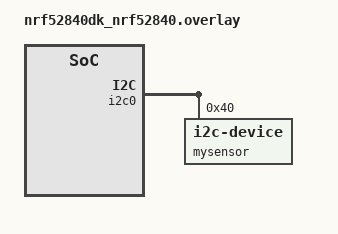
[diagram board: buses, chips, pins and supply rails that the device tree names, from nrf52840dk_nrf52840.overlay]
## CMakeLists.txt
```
#
# Copyright (c) 2018 Nordic Semiconductor
#
# SPDX-License-Identifier: LicenseRef-Nordic-5-Clause
#
cmake_minimum_required(VERSION 3.20.0)

find_package(Zephyr REQUIRED HINTS $ENV{ZEPHYR_BASE})
project(NONE)

# NORDIC SDK APP START
target_sources(app PRIVATE
  src/main.c
  src/ble_char.c
  src/si7006.c

)

# NORDIC SDK APP END
zephyr_library_include_directories(.)
```

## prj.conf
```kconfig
#
# Copyright (c) 2018 Nordic Semiconductor
#
# SPDX-License-Identifier: LicenseRef-Nordic-5-Clause
#
CONFIG_NCS_SAMPLES_DEFAULTS=y

CONFIG_BT=y
CONFIG_BT_PERIPHERAL=y
CONFIG_BT_DEVICE_NAME="Nordic_LBS"

# Enable the LBS service
#CONFIG_BT_LBS=y
CONFIG_BT_LBS_POLL_BUTTON=y
CONFIG_DK_LIBRARY=y

CONFIG_SYSTEM_WORKQUEUE_STACK_SIZE=2048
CONFIG_GPIO=y
# STEP 2 - Enable the I2C driver
CONFIG_I2C=y
# STEP 4.2 - Enable floating point format specifiers
CONFIG_CBPRINTF_FP_SUPPORT=y
```

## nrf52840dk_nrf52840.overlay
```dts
// To get started, press Ctrl+Space to bring up the completion menu and view the available nodes.

// You can also use the buttons in the sidebar to perform actions on nodes.
// Actions currently available include:

// * Enabling / disabling the node
// * Adding the bus to a bus
// * Removing the node
// * Connecting ADC channels

// For more help, browse the DeviceTree documentation at https://docs.zephyrproject.org/latest/guides/dts/index.html
// You can also visit the nRF DeviceTree extension documentation at https://nrfconnect.github.io/vscode-nrf-connect/devicetree/nrfdevicetree.html
&i2c0 {
    
    mysensor: mysensor@4a{
        compatible = "i2c-device";
        status = "okay";
        reg = < 0x40 >;
    };
};
```

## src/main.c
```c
#include <zephyr/types.h>
#include <stddef.h>
#include <string.h>
#include <errno.h>
#include <zephyr/sys/printk.h>
#include <zephyr/sys/byteorder.h>
#include <zephyr/kernel.h>
#include <zephyr/drivers/gpio.h>
#include <soc.h>

#include <zephyr/bluetooth/bluetooth.h>
#include <zephyr/bluetooth/hci.h>
#include <zephyr/bluetooth/conn.h>
#include <zephyr/bluetooth/uuid.h>
#include <zephyr/bluetooth/gatt.h>

#include <bluetooth/services/lbs.h>

#include <zephyr/settings/settings.h>


#include "ble_char.h"

#define DEVICE_NAME CONFIG_BT_DEVICE_NAME
#define DEVICE_NAME_LEN (sizeof(DEVICE_NAME) - 1)




int cTemp;
int ble_temp ;
int humidity;
int ble_hum ;
int timer_val=10;

static bool app_button_state;

static const struct bt_data ad[] = {
	BT_DATA_BYTES(BT_DATA_FLAGS, (BT_LE_AD_GENERAL | BT_LE_AD_NO_BREDR)),
	BT_DATA(BT_DATA_NAME_COMPLETE, DEVICE_NAME, DEVICE_NAME_LEN),
};

static const struct bt_data sd[] = {
	BT_DATA_BYTES(BT_DATA_UUID128_ALL, BT_UUID_LBS_VAL),
};

static void connected(struct bt_conn *conn, uint8_t err)
{
	if (err)
	{
		printk("Connection failed (err %u)\n", err);
		return;
	}

	printk("Connected\n");

}

static void disconnected(struct bt_conn *conn, uint8_t reason)
{
	printk("Disconnected (reason %u)\n", reason);

}

#ifdef CONFIG_BT_LBS_SECURITY_ENABLED
static void security_changed(struct bt_conn *conn, bt_security_t level,
							 enum bt_security_err err)
{
	char addr[BT_ADDR_LE_STR_LEN];

	bt_addr_le_to_str(bt_conn_get_dst(conn), addr, sizeof(addr));

	if (!err)
	{
		printk("Security changed: %s level %u\n", addr, level);
	}
	else
	{
		printk("Security failed: %s level %u err %d\n", addr, level,
			   err);
	}
}
#endif

BT_CONN_CB_DEFINE(conn_callbacks) = {
	.connected = connected,
	.disconnected = disconnected,
#ifdef CONFIG_BT_LBS_SECURITY_ENABLED
	.security_changed = security_changed,
#endif
};

#if defined(CONFIG_BT_LBS_SECURITY_ENABLED)
static void auth_passkey_display(struct bt_conn *conn, unsigned int passkey)
{
	char addr[BT_ADDR_LE_STR_LEN];

	bt_addr_le_to_str(bt_conn_get_dst(conn), addr, sizeof(addr));

	printk("Passkey for %s: %06u\n", addr, passkey);
}

static void auth_cancel(struct bt_conn *conn)
{
	char addr[BT_ADDR_LE_STR_LEN];

	bt_addr_le_to_str(bt_conn_get_dst(conn), addr, sizeof(addr));

	printk("Pairing cancelled: %s\n", addr);
}

static void pairing_complete(struct bt_conn *conn, bool bonded)
{
	char addr[BT_ADDR_LE_STR_LEN];

	bt_addr_le_to_str(bt_conn_get_dst(conn), addr, sizeof(addr));

	printk("Pairing completed: %s, bonded: %d\n", addr, bonded);
}

static void pairing_failed(struct bt_conn *conn, enum bt_security_err reason)
{
	char addr[BT_ADDR_LE_STR_LEN];

	bt_addr_le_to_str(bt_conn_get_dst(conn), addr, sizeof(addr));

	printk("Pairing failed conn: %s, reason %d\n", addr, reason);
}

static struct bt_conn_auth_cb conn_auth_callbacks = {
	.passkey_display = auth_passkey_display,
	.cancel = auth_cancel,
};

static struct bt_conn_auth_info_cb conn_auth_info_callbacks = {
	.pairing_complete = pairing_complete,
	.pairing_failed = pairing_failed};
#else
static struct bt_conn_auth_cb conn_auth_callbacks;
static struct bt_conn_auth_info_cb conn_auth_info_callbacks;
#endif


void tcp_work_handler(struct k_work *work)
{
	/* do the processing that needs to be done periodically */
	si7006();
	ble_temp = cTemp * 100;
	ble_hum = humidity * 100;
	hum_notify();
	temp_notify();
}

K_WORK_DEFINE(tcp_work, tcp_work_handler);
void tcp_timer_handler(struct k_timer *dummy)
{
	k_work_submit(&tcp_work);
}

struct k_timer tcp_timer;

void main(void)
{
	int err;

	printk("Starting Bluetooth Peripheral LBS example\n");


	if (IS_ENABLED(CONFIG_BT_LBS_SECURITY_ENABLED))
	{
		err = bt_conn_auth_cb_register(&conn_auth_callbacks);
		if (err)
		{
			printk("Failed to register authorization callbacks.\n");
			return;
		}

		err = bt_conn_auth_info_cb_register(&conn_auth_info_callbacks);
		if (err)
		{
			printk("Failed to register authorization info callbacks.\n");
			return;
		}
	}

	err = bt_enable(NULL);
	if (err)
	{
		printk("Bluetooth init failed (err %d)\n", err);
		return;
	}

	printk("Bluetooth initialized\n");

	if (IS_ENABLED(CONFIG_SETTINGS))
	{
		settings_load();
	}


	err = bt_le_adv_start(BT_LE_ADV_CONN, ad, ARRAY_SIZE(ad),
						  sd, ARRAY_SIZE(sd));
	if (err)
	{
		printk("Advertising failed to start (err %d)\n", err);
		return;
	}

	printk("Advertising successfully started\n");

	// timer
	k_timer_init(&tcp_timer, tcp_timer_handler, NULL);
	k_timer_start(&tcp_timer, K_SECONDS(0), K_SECONDS(timer_val));
}
```

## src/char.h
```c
/*
 * Copyright (c) 2018 Nordic Semiconductor ASA
 *
 * SPDX-License-Identifier: LicenseRef-Nordic-5-Clause
 */

#ifndef BT_LBS_H_
#define BT_LBS_H_

/**@file
 * @defgroup bt_lbs LED Button Service API
 * @{
 * @brief API for the LED Button Service (LBS).
 */

#ifdef __cplusplus
extern "C" {
#endif

#include <zephyr/types.h>


#define BT_UUID_LED           BT_UUID_DECLARE_128(BT_UUID_LED_VAL)
#define BT_UUID_LED_ON    BT_UUID_DECLARE_128(BT_UUID_LED_ON_VAL)

#define BT_UUID_LED_VAL \
	BT_UUID_128_ENCODE(0x00001526, 0x1212, 0xefde, 0x1523, 0x785feabcd123)

#define BT_UUID_LED_ON_VAL \
	BT_UUID_128_ENCODE(0x00001527, 0x1212, 0xefde, 0x1523, 0x785feabcd123)

#ifdef __cplusplus
}
#endif

/**
 * @}
 */

#endif /* BT_LBS_H_ */

void MEASURE_TEMPERATURE_NO_HOLD_MASTER_MODE (void);
void MEASURE_RELATIVE_HUMIDITY_NO_HOLD_MASTER_MODE (void);
void si7004(void);
```

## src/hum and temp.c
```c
#include <zephyr/kernel.h>
#include <zephyr/device.h>
#include <zephyr/devicetree.h>
#include <zephyr/drivers/i2c.h>
#include <zephyr/sys/printk.h>
#include "led.h"

#define     SI7006_ADDRESS       0x40                                                
#define     SI7006_MEASURE_RELATIVE_HUMIDITY_NO_HOLD_MASTER_MODE           0xF5               
#define     SI7006_MEASURE_TEMPERATURE_NO_HOLD_MASTER_MODE                 0xF3               
#define I2C_NODE DT_NODELABEL(mysensor)
 struct i2c_dt_spec dev_i2c = I2C_DT_SPEC_GET(I2C_NODE);

int cTemp;

void tt_i2c_write(uint8_t slaveAddr, uint8_t regAddr)
{
	uint8_t buf[1];

	buf[0] = regAddr;
	//buf[1] = 0;
	 i2c_write_dt(&dev_i2c, buf, sizeof(buf));
	return ;
}

uint8_t tt_i2c_read(uint8_t slaveAddr)
{
	uint8_t data;
	i2c_read_dt(&dev_i2c, &data, sizeof(data));
	return data;
}



void MEASURE_RELATIVE_HUMIDITY_NO_HOLD_MASTER_MODE (void)
 {
	 uint32_t data1;
	 uint32_t data2;

	 // Send Relative humidity measurement command, NO HOLD MASTER(0xF5)

	 		tt_i2c_write(SI7006_ADDRESS, SI7006_MEASURE_RELATIVE_HUMIDITY_NO_HOLD_MASTER_MODE);

	 // for time delay
        k_sleep(K_MSEC(1000));

	    //  DelayCount = 100000;
	    //   Delay ();


	 // Read 2 bytes of humidity data

	 // humidity msb, humidity lsb

	 		data1 = tt_i2c_read(SI7006_ADDRESS);
	        data2 = tt_i2c_read(SI7006_ADDRESS);

	 		//printf("data1 : 0x%02x\n",data1);
	 		//printf("data2 : 0x%02x\n",data2);

	 // Convert the data

	 			 int humidity = ((((data1 * 256 )+ data2) * 125) / 65536) - 6;



	 // Output data to screen
	 			printk("FOR NO HOLD MASTER MODE\n");
	 			printk("Relative Humidity : %02d percentage\n", humidity);


 }

 void MEASURE_TEMPERATURE_NO_HOLD_MASTER_MODE (void)
 {
	 uint32_t data3;
     uint32_t data4;

	 // Send temperature measurement command, NO HOLD MASTER(0xF3)

	 		tt_i2c_write(SI7006_ADDRESS, SI7006_MEASURE_TEMPERATURE_NO_HOLD_MASTER_MODE);

	 // For time delay
        k_sleep(K_MSEC(1000));
	 		//  DelayCount = 100000;
	 		//  Delay ();


	 // Read 2 bytes of temperature data

	 // humidity msb, humidity lsb


	 	         data3 =	tt_i2c_read(SI7006_ADDRESS);
	 	         data4 =	tt_i2c_read(SI7006_ADDRESS);

	 	        //printf("data3 : 0x%02x\n",data3);
	 	        //printf("data4 : 0x%02x\n",data4);


	 // Convert the data

	 			 cTemp = ((((data3 * 256) + data4) * 175.72) / 65536) - 46.85;
	 			int fTemp = ( cTemp * 1.8 )+ 32;

	 // Output data to screen
	 			printk("FOR NO HOLD MASTER MODE\n");
	 			printk("Temperature in Celsius : %02d C \n", cTemp);
	 			printk("Temperature in Fahrenheit : %02d F \n", fTemp);


 }


void si7004(void)
{
 if (!device_is_ready(dev_i2c.bus))
	{
		printk("I2C bus %s is not ready!\n\r", dev_i2c.bus->name);
		return;
	}
 MEASURE_RELATIVE_HUMIDITY_NO_HOLD_MASTER_MODE ();

	MEASURE_TEMPERATURE_NO_HOLD_MASTER_MODE ();
}
```

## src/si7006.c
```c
#include <zephyr/kernel.h>
#include <zephyr/device.h>
#include <zephyr/devicetree.h>
#include <zephyr/drivers/i2c.h>
#include <zephyr/sys/printk.h>
#include "ble_char.h"

#define     SI7006_ADDRESS       0x40                                                
#define     SI7006_MEASURE_RELATIVE_HUMIDITY_NO_HOLD_MASTER_MODE           0xF5               
#define     SI7006_MEASURE_TEMPERATURE_NO_HOLD_MASTER_MODE                 0xF3               
#define I2C_NODE DT_NODELABEL(mysensor)
 struct i2c_dt_spec dev_i2c = I2C_DT_SPEC_GET(I2C_NODE);

extern int cTemp;
extern int ble_temp ;
extern int humidity;
extern int ble_hum ;


void tt_i2c_write(uint8_t slaveAddr, uint8_t regAddr)
{
	uint8_t buf[1];

	buf[0] = regAddr;
	//buf[1] = 0;
	 i2c_write_dt(&dev_i2c, buf, sizeof(buf));
	return ;
}

uint8_t tt_i2c_read(uint8_t slaveAddr)
{
	uint8_t data;
	i2c_read_dt(&dev_i2c, &data, sizeof(data));
	return data;
}



void MEASURE_RELATIVE_HUMIDITY_NO_HOLD_MASTER_MODE (void)
 {
	 uint32_t data1;
	 uint32_t data2;

	 // Send Relative humidity measurement command, NO HOLD MASTER(0xF5)

	 		tt_i2c_write(SI7006_ADDRESS, SI7006_MEASURE_RELATIVE_HUMIDITY_NO_HOLD_MASTER_MODE);

	 // for time delay
        k_sleep(K_MSEC(1000));

	 // Read 2 bytes of humidity data

	 // humidity msb, humidity lsb

	 		data1 = tt_i2c_read(SI7006_ADDRESS);
	        data2 = tt_i2c_read(SI7006_ADDRESS);

	 		//printf("data1 : 0x%02x\n",data1);
	 		//printf("data2 : 0x%02x\n",data2);

	 // Convert the data

	 			 humidity = ((((data1 * 256 )+ data2) * 125) / 65536) - 6;



	 // Output data to screen
	 			printk("FOR NO HOLD MASTER MODE\n");
	 			printk("Relative Humidity : %02d percentage\n", humidity);


 }

 void MEASURE_TEMPERATURE_NO_HOLD_MASTER_MODE (void)
 {
	 uint32_t data3;
     uint32_t data4;

	 // Send temperature measurement command, NO HOLD MASTER(0xF3)

	 		tt_i2c_write(SI7006_ADDRESS, SI7006_MEASURE_TEMPERATURE_NO_HOLD_MASTER_MODE);

	 // For time delay
        k_sleep(K_MSEC(1000));
	 		
	 // Read 2 bytes of temperature data

	 // humidity msb, humidity lsb


	 	         data3 =	tt_i2c_read(SI7006_ADDRESS);
	 	         data4 =	tt_i2c_read(SI7006_ADDRESS);

	 	        //printf("data3 : 0x%02x\n",data3);
	 	        //printf("data4 : 0x%02x\n",data4);


	 // Convert the data

	 			 cTemp = ((((data3 * 256) + data4) * 175.72) / 65536) - 46.85;
	 			int fTemp = ( cTemp * 1.8 )+ 32;

	 // Output data to screen
	 			printk("FOR NO HOLD MASTER MODE\n");
	 			printk("Temperature in Celsius : %02d C \n", cTemp);
	 			printk("Temperature in Fahrenheit : %02d F \n", fTemp);


 }


void si7006(void)
{
 if (!device_is_ready(dev_i2c.bus))
	{
		printk("I2C bus %s is not ready!\n\r", dev_i2c.bus->name);
		return;
	}
	 MEASURE_RELATIVE_HUMIDITY_NO_HOLD_MASTER_MODE ();

	MEASURE_TEMPERATURE_NO_HOLD_MASTER_MODE ();
}
```
